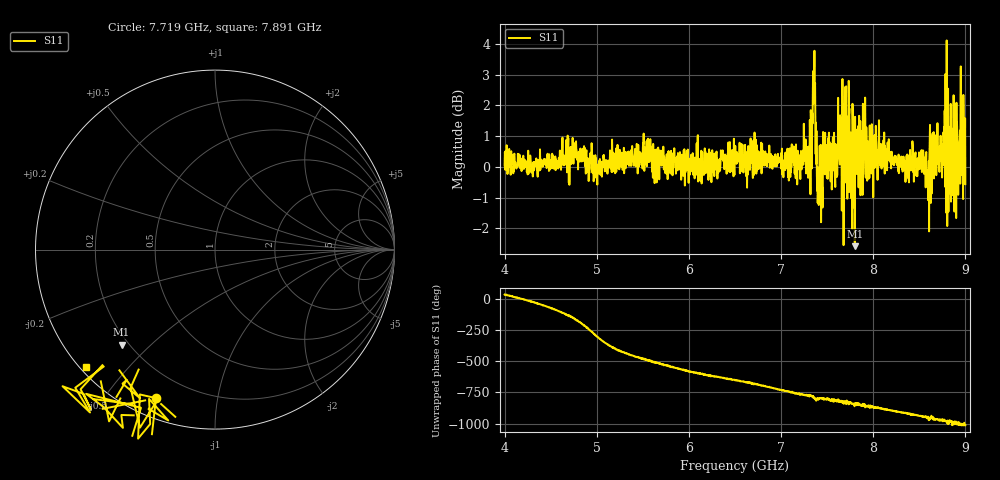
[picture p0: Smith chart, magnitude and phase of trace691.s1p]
! Created with skrf 1.8.0 (http://scikit-rf.org).
# Hz S RI R 50.0
!freq ReS11 ImS11
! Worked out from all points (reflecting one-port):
!   1601 points, 4 GHz to 9 GHz, reference 50 ohm
!   lowest |S11| = -2.6 dB at 7.8 GHz (marker M1), VSWR 6.78, Z = 8.64 - j20.4 ohm
!   phase of S11 starts at 33 deg and turns -1043 deg over the sweep
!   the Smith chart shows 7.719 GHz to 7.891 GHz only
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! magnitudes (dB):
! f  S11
! 4 GHz  0.0
! 4.625 GHz  0.6
! 5.25 GHz  0.6
! 5.875 GHz  -0.1
! 6.5 GHz  0.3
! 7.125 GHz  0.1
! 7.294 GHz  -0.4
! 7.316 GHz  0.4
! 7.347 GHz  3.1
! 7.369 GHz  2.7
! 7.412 GHz  -0.7
! 7.478 GHz  1.1
! 7.609 GHz  -0.3
! 7.669 GHz  1.7
! 7.75 GHz  -0.8
! 7.775 GHz  2.0
! 7.8 GHz  -2.6
! 7.891 GHz  -0.3
! 7.944 GHz  0.3
! 8.375 GHz  -0.1
! 8.522 GHz  0.5
! 8.609 GHz  0.3
! 8.662 GHz  0.5
! 8.725 GHz  0.3
! 8.788 GHz  0.1
! 8.841 GHz  2.0
! 8.972 GHz  0.5
! 9 GHz  -0.6
